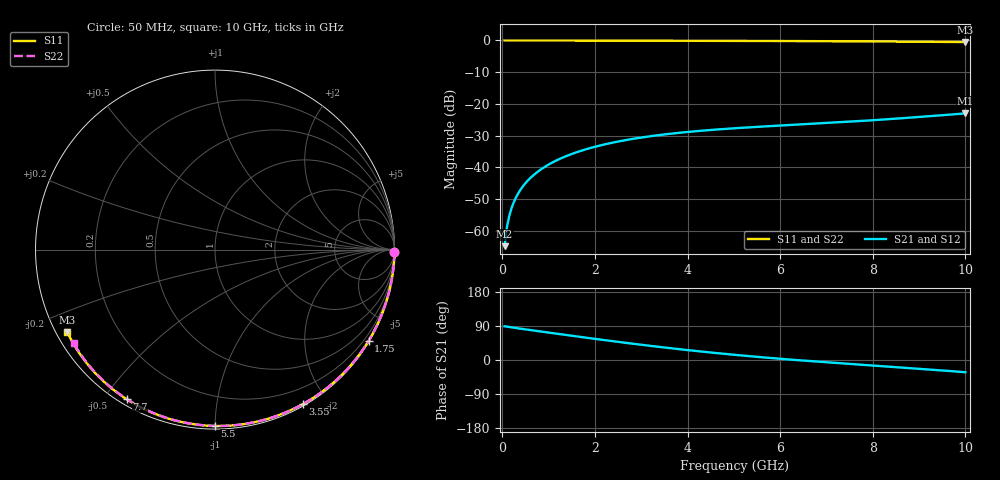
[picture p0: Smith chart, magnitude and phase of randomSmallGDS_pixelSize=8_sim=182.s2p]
! freq	dB(S11)	phase(S11)	dB(S12)	phase(S12)
!  dB(S21)	phase(S21)	dB(S22)	phase(S22)
!S-par simulation data
#  GHz  S  DB  R 50
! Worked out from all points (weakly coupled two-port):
!   200 points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, 50 MHz to 10 GHz, reference 50 ohm
!   highest |S21| = -23.02 dB at 10 GHz (marker M1); lowest = -64.9 dB at 50 MHz (marker M2)
!   lowest |S11| = -0.5 dB at 10 GHz (marker M3), VSWR 34.05, Z = 1.57 - j13 ohm
!   |S11| at or under -10 dB: nowhere
!   |S22| runs from -0.5 to 0.0 dB; largest |S21 - S12| = 0
!   S11 on the Smith chart (normalised r, x): 50 MHz: open; 1.75 GHz: 0.03, -3.64; 3.55 GHz: 0.02, -1.71; 5.5 GHz: 0.02, -1.00; 7.7 GHz: 0.02, -0.57; 10 GHz: 0.03, -0.26
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0.05  -0.00 -0.9  -64.93 89.0  -64.93 89.0  -0.00 -0.9
0.1  -0.00 -1.8  -58.91 88.0  -58.91 88.0  -0.00 -1.7
0.15  -0.00 -2.7  -55.40 87.1  -55.40 87.1  -0.00 -2.6
0.2  -0.00 -3.6  -52.92 86.1  -52.92 86.1  -0.00 -3.5
0.25  -0.00 -4.5  -50.99 85.2  -50.99 85.2  -0.00 -4.3
0.35  -0.00 -6.2  -48.10 83.4  -48.10 83.4  -0.00 -6.0
0.5  -0.01 -8.9  -45.05 80.8  -45.05 80.8  -0.01 -8.6
0.7  -0.01 -12.4  -42.18 77.4  -42.18 77.4  -0.01 -12.0
1  -0.02 -17.7  -39.17 72.3  -39.17 72.3  -0.02 -17.1
1.35  -0.03 -23.8  -36.68 66.5  -36.68 66.5  -0.03 -23.0
1.75  -0.04 -30.7  -34.59 59.8  -34.59 59.8  -0.04 -29.7
2.5  -0.06 -43.4  -31.90 47.8  -31.90 47.8  -0.06 -42.0
3.4  -0.08 -58.1  -29.84 34.4  -29.84 34.4  -0.08 -56.3
3.55  -0.08 -60.5  -29.57 32.3  -29.57 32.3  -0.08 -58.6
4.3  -0.11 -72.2  -28.49 22.3  -28.49 22.3  -0.10 -70.0
5.05  -0.13 -83.5  -27.68 13.3  -27.68 13.3  -0.13 -81.0
5.5  -0.15 -90.1  -27.27 8.3  -27.27 8.3  -0.15 -87.4
6.7  -0.21 -107.0  -26.31 -3.3  -26.31 -3.3  -0.21 -103.9
7.7  -0.28 -120.5  -25.46 -11.8  -25.46 -11.8  -0.27 -117.0
8.35  -0.33 -129.1  -24.83 -17.3  -24.83 -17.3  -0.33 -125.4
9.2  -0.42 -140.2  -23.93 -24.8  -23.93 -24.8  -0.41 -136.2
10  -0.51 -150.8  -23.02 -32.3  -23.02 -32.3  -0.50 -146.4
